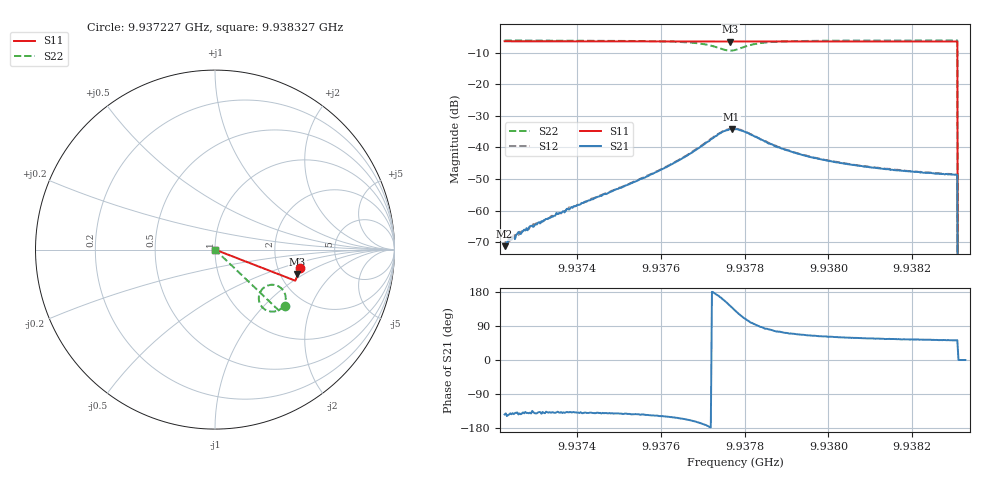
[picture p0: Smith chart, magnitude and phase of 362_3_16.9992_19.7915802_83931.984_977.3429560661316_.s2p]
#  HZ  S  RI  R  50.00
! Rohde & Schwarz Vector Network Analyzer
! Rohde-Schwarz,ZNB20-2Port,1311601062101988,3.16
! Created: UTC 3/20/2024, 11:08:17 PM
! freq[Hz]  re:S11  im:S11  re:S21  im:S21  re:S12  im:S12  re:S22  im:S22
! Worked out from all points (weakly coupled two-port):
!   401 points, 9.937227 GHz to 9.938327 GHz, reference 50 ohm
!   highest |S21| = -34.10 dB at 9.937769 GHz (marker M1); lowest = -71.3 dB at 9.937227 GHz (marker M2)
!   lowest |S11| = -6.4 dB at 9.937766 GHz (marker M3), VSWR 2.84, Z = 124 - j44.2 ohm
!   |S11| at or under -10 dB: 9.938308 GHz to end of sweep
!   |S22| runs from - to -6.0 dB; largest |S21 - S12| = 0.0008
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9.937227e9  0.4727 -0.1034  -0.000219 -0.000161  -0.000268 -0.000157  0.3885 -0.3119
9.9372408e9  0.4723 -0.1045  -0.000264 -0.000215  -0.000281 -0.000194  0.3877 -0.313
9.937249e9  0.4722 -0.1049  -0.000299 -0.000226  -0.000326 -0.000244  0.3871 -0.3134
9.9372848e9  0.4714 -0.1073  -0.000413 -0.000339  -0.000388 -0.000326  0.3845 -0.3159
9.9373453e9  0.4703 -0.1113  -0.000624 -0.000538  -0.000668 -0.000543  0.3798 -0.3202
9.9374112e9  0.4687 -0.1158  -0.00101 -0.00084  -0.00101 -0.00085  0.3736 -0.3254
9.9375954e9  0.4648 -0.1281  -0.00363 -0.00226  -0.00371 -0.00226  0.3422 -0.3423
9.9376614e9  0.4628 -0.1325  -0.00678 -0.00284  -0.00694 -0.00279  0.3129 -0.3455
9.9377054e9  0.4612 -0.1354  -0.0113 -0.00179  -0.0117 -0.00158  0.2761 -0.3322
9.9377439e9  0.4596 -0.1372  -0.0165 0.00469  -0.0165 0.0053  0.2441 -0.275
9.9377659e9  0.459 -0.1379  -0.0154 0.0119  -0.0152 0.0126  0.2623 -0.2214
9.9377687e9  0.459 -0.138  -0.015 0.0128  -0.0146 0.0133  0.2677 -0.2159
9.9377769e9  0.459 -0.1383  -0.0127 0.0148  -0.0126 0.0154  0.2868 -0.2031
9.9378044e9  0.4592 -0.1396  -0.00484 0.0165  -0.00448 0.0169  0.3505 -0.2029
9.9378374e9  0.4592 -0.1419  0.000658 0.0134  0.00074 0.0136  0.3857 -0.2368
9.9378759e9  0.4586 -0.1447  0.00267 0.01  0.00276 0.0102  0.3941 -0.2679
9.9379611e9  0.4565 -0.1507  0.00304 0.00626  0.00315 0.00627  0.3882 -0.3018
9.9380656e9  0.4538 -0.1575  0.00274 0.00443  0.00288 0.0044  0.3781 -0.3207
9.9381453e9  0.4517 -0.1626  0.00252 0.00371  0.00265 0.00374  0.3716 -0.3297
9.938302e9  0.4473 -0.1727  0.0023 0.00291  0.00235 0.0029  0.3604 -0.3427
9.9383158e9  0 0  0 0  0 0  0 0
9.9383268e9  0 0  0 0  0 0  0 0
